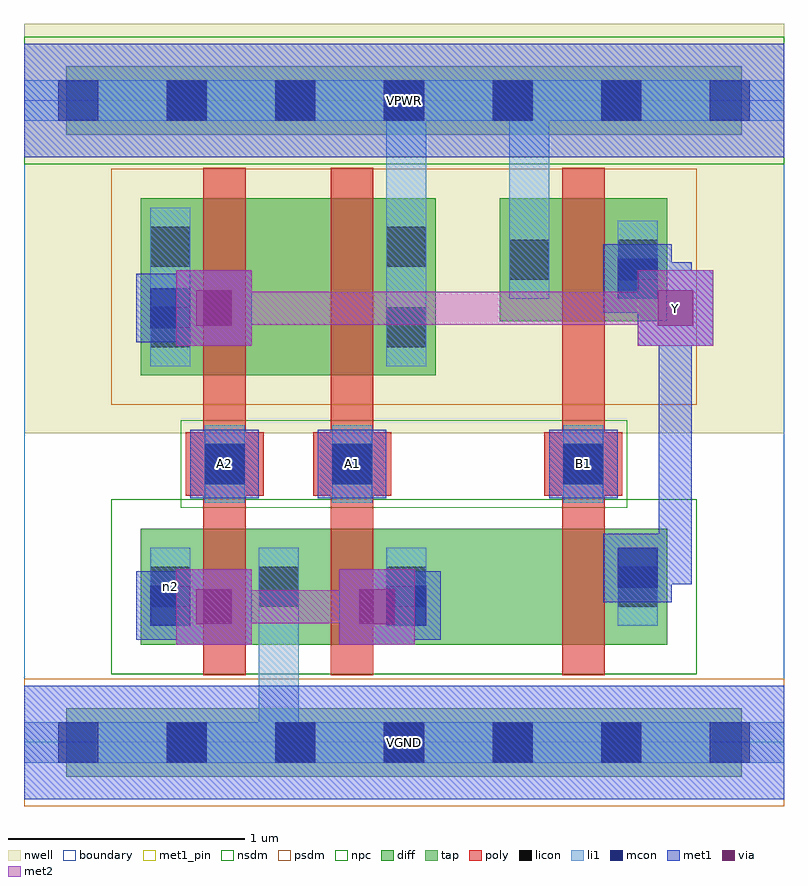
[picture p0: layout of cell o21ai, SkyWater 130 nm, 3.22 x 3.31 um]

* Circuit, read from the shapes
.subckt o21ai A1 A2 B1 VGND VPWR Y n2
XM1 VGND A2 n2 VGND sky130_fd_pr__nfet_01v8 w=0.49 l=0.18
XM2 n2 A1 VGND VGND sky130_fd_pr__nfet_01v8 w=0.49 l=0.18
XM3 Y B1 n2 VGND sky130_fd_pr__nfet_01v8 w=0.49 l=0.18
XM4 n1 A2 Y VPWR sky130_fd_pr__pfet_01v8 w=0.75 l=0.18
XM5 VPWR A1 n1 VPWR sky130_fd_pr__pfet_01v8 w=0.75 l=0.18
XM6 Y B1 VPWR VPWR sky130_fd_pr__pfet_01v8 w=0.52 l=0.18
.ends

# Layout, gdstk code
import gdstk
lib = gdstk.Library(unit=1e-6, precision=1e-09)
def R(c, l, rs):  # rectangles x0, y0, x1, y1
    for r in rs: c.add(gdstk.rectangle(r[:2], r[2:], *l))
def A(c, l, x, y, w, h, nx, ny, dx, dy):  # array of equal rectangles
    R(c, l, [(x+i*dx, y+j*dy, x+i*dx+w, y+j*dy+h) for i in range(nx) for j in range(ny)])
nwell = (64, 20)
diff = (65, 20)
tap = (65, 44)
poly = (66, 20)
licon = (66, 44)
li1 = (67, 20)
mcon = (67, 44)
met1_pin = (68, 16)
met1 = (68, 20)
via = (68, 44)
met2 = (69, 20)
nsdm = (93, 44)
psdm = (94, 20)
npc = (95, 20)
boundary = (235, 4)

o21ai = lib.new_cell('o21ai')
R(o21ai, nwell, [(0,1.31,3.22,3.045)])
R(o21ai, diff, [(0.495,0.415,2.725,0.905), (0.495,1.555,1.745,2.305), (2.015,1.785,2.725,2.305)])
R(o21ai, tap, [(0.18,-0.145,3.04,0.145), (0.18,2.575,3.04,2.865)])
R(o21ai, poly, [(0.76,0.285,0.94,2.435), (1.3,0.285,1.48,2.435), (2.28,0.285,2.46,2.435), (0.685,1.045,1.015,1.315), (1.225,1.045,1.555,1.315), (2.205,1.045,2.535,1.315)])
A(o21ai, licon, 0.605, -0.085, 0.17, 0.17, 5, 2, 0.46, 2.72)
R(o21ai, licon, [(0.535,0.575,0.705,0.745), (0.995,0.575,1.165,0.745), (1.535,0.575,1.705,0.745), (2.515,0.575,2.685,0.745), (0.765,1.095,0.935,1.265), (1.305,1.095,1.475,1.265), (2.285,1.095,2.455,1.265), (0.535,1.675,0.705,1.845), (1.535,1.675,1.705,1.845), (2.055,1.96,2.225,2.13), (2.515,1.96,2.685,2.13), (0.535,2.015,0.705,2.185), (1.535,2.015,1.705,2.185)])
R(o21ai, li1, [(0,-0.085,3.22,0.085), (0.995,-0.085,1.165,0.825), (0.535,0.495,0.705,0.825), (0.995,0.495,1.165,0.825), (1.535,0.495,1.705,0.825), (2.515,0.495,2.685,0.825), (0.765,1.015,0.935,1.345), (1.305,1.015,1.475,1.345), (2.285,1.015,2.455,1.345), (0.535,1.595,0.705,2.265), (1.535,1.595,1.705,2.265), (1.535,1.595,1.705,2.805), (2.055,1.88,2.225,2.21), (2.055,1.88,2.225,2.805), (2.515,1.88,2.685,2.21), (0,2.635,3.22,2.805)])
A(o21ai, mcon, 0.145, -0.085, 0.17, 0.17, 7, 2, 0.46, 2.72)
R(o21ai, mcon, [(0.535,0.495,0.705,0.665), (1.535,0.495,1.705,0.665), (2.515,0.655,2.685,0.825), (0.765,1.095,0.935,1.265), (1.305,1.095,1.475,1.265), (2.285,1.095,2.455,1.265), (0.535,1.755,0.705,1.925), (2.515,1.88,2.685,2.05)])
R(o21ai, met1_pin, [(0,-0.24,3.22,0.24), (0.705,1.035,0.995,1.325), (1.245,1.035,1.535,1.325), (2.225,1.035,2.515,1.325), (2.6,1.68,2.92,2), (0,2.48,3.22,2.96)])
R(o21ai, met1, [(0,-0.24,3.22,0.24), (0.645,0.415,0.965,0.735), (1.335,0.415,1.655,0.735), (0.475,0.435,0.765,0.725), (1.475,0.435,1.765,0.725), (0.735,0.505,0.875,0.65), (1.425,0.505,1.565,0.65), (0.55,0.51,0.875,0.65), (1.425,0.51,1.69,0.65), (2.455,0.595,2.745,0.885), (2.53,0.67,2.83,0.81), (2.69,0.67,2.83,0.99), (2.69,0.85,2.83,1.91), (0.705,1.035,0.995,1.325), (1.245,1.035,1.535,1.325), (2.225,1.035,2.515,1.325), (0.645,1.68,0.965,2), (2.6,1.68,2.92,2), (0.475,1.695,0.765,1.985), (0.55,1.77,0.875,1.91), (2.69,1.77,2.83,2.035), (2.455,1.82,2.745,2.11), (2.53,1.895,2.83,2.035), (0,2.48,3.22,2.96)])
R(o21ai, via, [(0.73,0.5,0.88,0.65), (1.42,0.5,1.57,0.65), (0.73,1.765,0.88,1.915), (2.685,1.765,2.835,1.915)])
R(o21ai, met2, [(0.645,0.415,0.965,0.735), (1.335,0.415,1.655,0.735), (0.735,0.505,1.565,0.645), (0.645,1.68,0.965,2), (2.6,1.68,2.92,2), (0.735,1.77,2.83,1.91)])
R(o21ai, nsdm, [(0.37,0.29,2.85,1.03), (0,2.45,3.22,2.99)])
R(o21ai, psdm, [(0,-0.27,3.22,0.27), (0.37,1.43,2.85,2.43)])
R(o21ai, npc, [(0.665,0.995,2.555,1.365)])
R(o21ai, boundary, [(0,0,3.22,2.72)])
o21ai.add(gdstk.Label('n2', (0.62,0.66), layer=67, texttype=5))
o21ai.add(gdstk.Label('A1', (1.39,1.18), layer=68, texttype=5))
o21ai.add(gdstk.Label('A2', (0.85,1.18), layer=68, texttype=5))
o21ai.add(gdstk.Label('B1', (2.37,1.18), layer=68, texttype=5))
o21ai.add(gdstk.Label('Y', (2.76,1.84), layer=68, texttype=5))
o21ai.add(gdstk.Label('VPWR', (1.61,2.72), layer=68, texttype=5))
o21ai.add(gdstk.Label('VGND', (1.61,0), layer=68, texttype=5))
o21ai.add(gdstk.Label('A1', (1.39,1.18), layer=68, texttype=16))
o21ai.add(gdstk.Label('A2', (0.85,1.18), layer=68, texttype=16))
o21ai.add(gdstk.Label('B1', (2.37,1.18), layer=68, texttype=16))
o21ai.add(gdstk.Label('Y', (2.76,1.84), layer=68, texttype=16))
o21ai.add(gdstk.Label('VPWR', (1.61,2.72), layer=68, texttype=16))
o21ai.add(gdstk.Label('VGND', (1.61,0), layer=68, texttype=16))

lib.write_gds('o21ai.gds')
